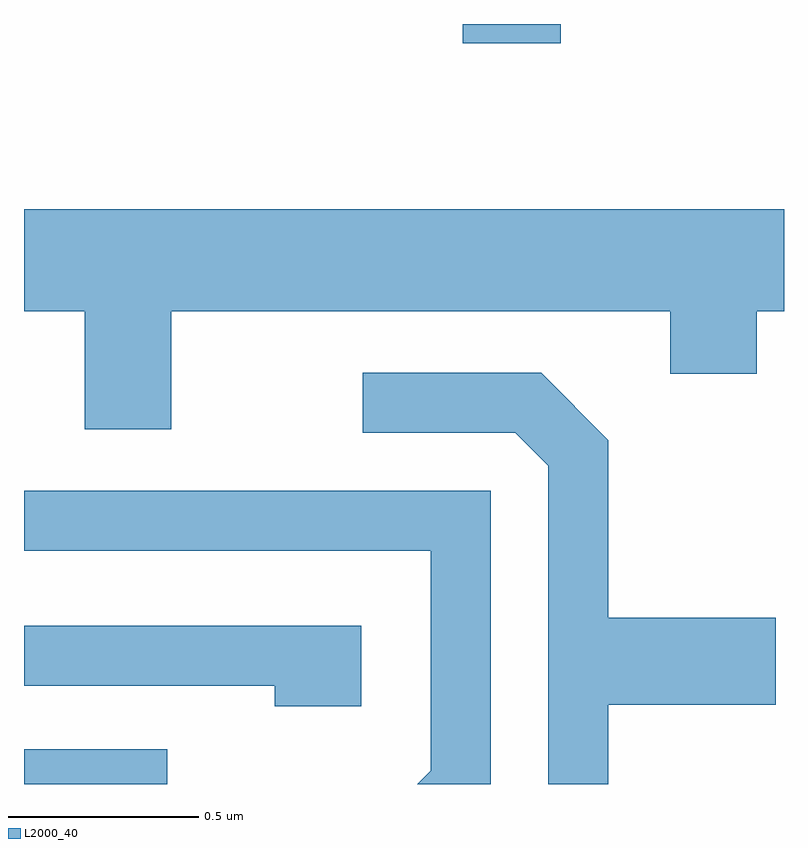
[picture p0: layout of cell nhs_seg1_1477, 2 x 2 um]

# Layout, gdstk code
import gdstk
lib = gdstk.Library(unit=1e-6, precision=1e-09)
def R(c, l, rs):  # rectangles x0, y0, x1, y1
    for r in rs: c.add(gdstk.rectangle(r[:2], r[2:], *l))
def P(c, l, *ps):  # polygons
    for p in ps: c.add(gdstk.Polygon(p, *l))
L2000_40 = (2000, 40)

nhs_seg1_1477 = lib.new_cell('nhs_seg1_1477')
R(nhs_seg1_1477, L2000_40, [(195.611,962.712,195.988,962.804), (196.766,964.661,197.024,964.712)])
P(nhs_seg1_1477, L2000_40, [(195.999,963.956),(197.311,963.956),(197.311,963.791),(197.539,963.791),(197.539,963.956),(197.611,963.956),(197.611,964.224),(195.611,964.224),(195.611,963.956),(195.771,963.956),(195.771,963.646),(195.999,963.646)],
  [(197.149,962.921),(197.589,962.921),(197.589,963.149),(197.149,963.149),(197.149,963.617),(196.972,963.794),(196.503,963.794),(196.503,963.636),(196.904,963.636),(196.991,963.549),(196.991,962.712),(197.149,962.712)],
  [(196.839,963.484),(195.611,963.484),(195.611,963.326),(196.681,963.326),(196.681,962.747),(196.646,962.712),(196.839,962.712)],
  [(196.499,963.129),(195.611,963.129),(195.611,962.971),(196.271,962.971),(196.271,962.916),(196.499,962.916)])

lib.write_gds('nhs_seg1_1477.gds')
